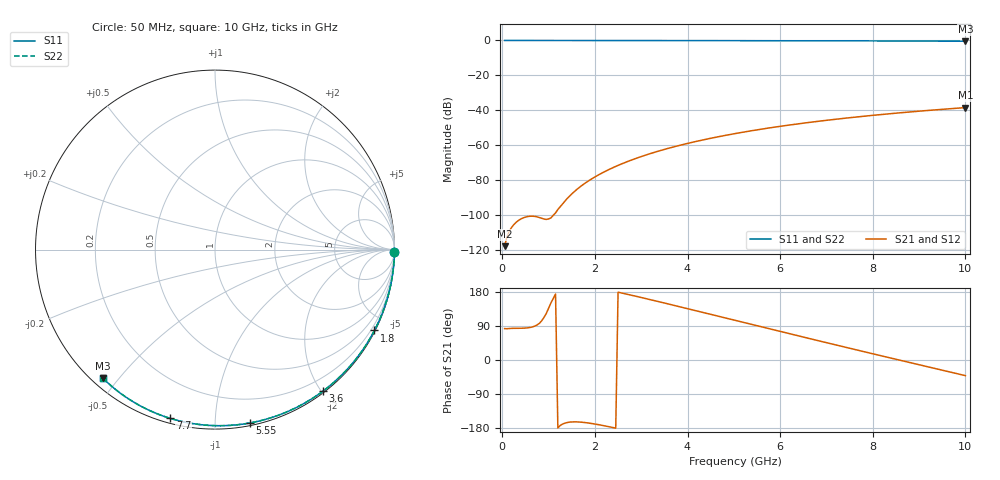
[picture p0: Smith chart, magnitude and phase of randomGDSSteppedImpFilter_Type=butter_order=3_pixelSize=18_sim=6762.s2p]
! freq	dB(S11)	phase(S11)	dB(S12)	phase(S12)
!  dB(S21)	phase(S21)	dB(S22)	phase(S22)
!S-par simulation data
#  GHz  S  DB  R 50
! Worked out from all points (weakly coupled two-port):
!   200 points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, 50 MHz to 10 GHz, reference 50 ohm
!   highest |S21| = -38.42 dB at 10 GHz (marker M1); lowest = -117.7 dB at 50 MHz (marker M2)
!   lowest |S11| = -0.4 dB at 10 GHz (marker M3), VSWR 39.14, Z = 1.54 - j22.7 ohm
!   |S11| at or under -10 dB: nowhere
!   |S22| runs from -0.4 to 0.0 dB; largest |S21 - S12| = 0
!   S11 on the Smith chart (normalised r, x): 50 MHz: open; 1.8 GHz: 0.04, -4.18; 3.6 GHz: 0.02, -2.02; 5.55 GHz: 0.02, -1.22; 7.7 GHz: 0.02, -0.77; 10 GHz: 0.03, -0.45
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0.05  -0.00 -0.8  -117.70 82.8  -117.70 82.8  -0.00 -0.8
0.9  -0.02 -13.6  -102.16 112.4  -102.16 112.4  -0.02 -13.6
1.75  -0.03 -26.1  -82.37 -164.6  -82.37 -164.6  -0.03 -26.1
1.8  -0.03 -26.9  -81.43 -165.3  -81.43 -165.3  -0.03 -26.9
1.85  -0.04 -27.6  -80.54 -166.1  -80.54 -166.1  -0.04 -27.6
1.9  -0.04 -28.3  -79.69 -167.0  -79.69 -167.0  -0.04 -28.3
2.05  -0.04 -30.5  -77.32 -170.0  -77.32 -170.0  -0.04 -30.5
2.25  -0.04 -33.4  -74.53 -174.7  -74.53 -174.7  -0.04 -33.4
2.45  -0.05 -36.3  -72.05 -179.8  -72.05 -179.8  -0.05 -36.3
2.65  -0.05 -39.2  -69.83 174.8  -69.83 174.8  -0.05 -39.2
3  -0.06 -44.2  -66.43 165.0  -66.43 165.0  -0.06 -44.2
3.4  -0.07 -49.8  -63.09 153.3  -63.09 153.3  -0.07 -49.8
3.6  -0.07 -52.6  -61.60 147.4  -61.60 147.4  -0.07 -52.6
4.3  -0.09 -62.1  -57.09 126.5  -57.09 126.5  -0.09 -62.1
5.05  -0.11 -72.1  -53.17 103.9  -53.17 103.9  -0.11 -72.1
5.55  -0.13 -78.5  -50.93 88.9  -50.93 88.9  -0.13 -78.5
6.1  -0.15 -85.5  -48.75 72.4  -48.75 72.4  -0.15 -85.5
6.7  -0.18 -92.9  -46.65 54.6  -46.65 54.6  -0.18 -92.9
7.7  -0.24 -104.9  -43.64 25.1  -43.64 25.1  -0.24 -104.9
8.35  -0.29 -112.4  -41.96 6.2  -41.96 6.2  -0.29 -112.4
9.15  -0.36 -121.6  -40.13 -16.8  -40.13 -16.8  -0.36 -121.6
10  -0.44 -131.2  -38.42 -41.2  -38.42 -41.2  -0.44 -131.2
